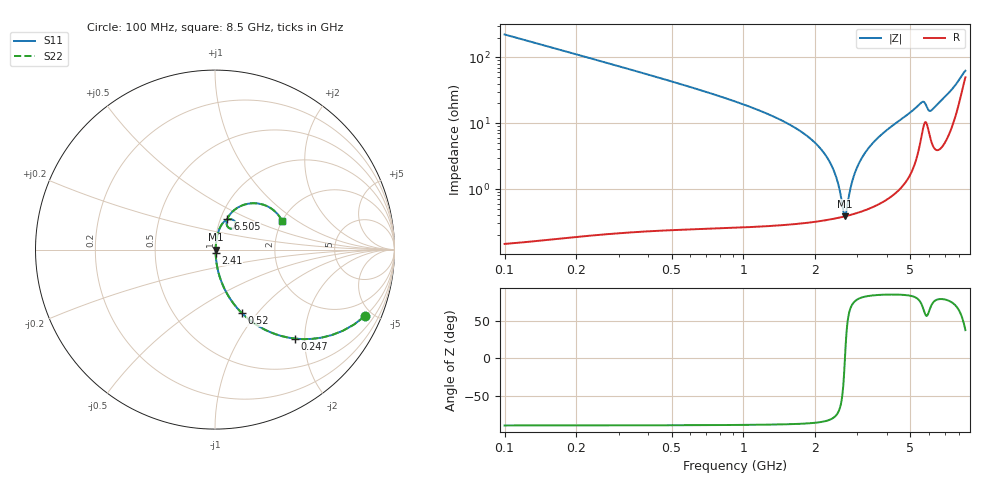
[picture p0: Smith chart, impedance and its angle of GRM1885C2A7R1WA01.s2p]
!Murata Part Number: GRM1885C2A7R1WA01
!These Parameters are Measured in Series Mode Connection
!Data Generated on Mar 30, 2021
!  o--ll--o
!Port1  Port2
!  o------o
!Operation Temp=25[degC], DC Bias Voltage=0[V]
!Freq. Start=100[MHz] Stop=9[GHz] 401[Steps]
# Hz S RI R 50
!Freq.(Hz) S11(Real) S11(Imag) S21(Real) S21(Imag) S12(Real) S12(Imag) S22(Real) S22(Imag)
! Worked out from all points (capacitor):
!   401 points, 100 MHz to 8.5 GHz, reference 50 ohm
!   read as one part in series: C = 7.1 pF near 142 MHz
!   lowest |Z| = 384 mohm at 2.662 GHz (marker M1)
!   series resonance near 2.661 GHz, so ESL is about 500 pH
!   S11 on the Smith chart (normalised r, x): 100 MHz: 1.00, -4.48; 247 MHz: 1.00, -1.80; 520 MHz: 1.00, -0.83; 2.41 GHz: 1.01, -0.03; 6.505 GHz: 1.08, +0.38; 8.5 GHz: 2.00, +0.76
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1e8  0.8334 -0.3723  0.1666 0.3723  0.1666 0.3723  0.8334 -0.3723
2.47e8  0.4473 -0.4961  0.5527 0.4961  0.5527 0.4961  0.4473 -0.4961
3.73e8  0.2584 -0.4359  0.7416 0.4359  0.7416 0.4359  0.2584 -0.4359
5.2e8  0.1483 -0.3525  0.8517 0.3525  0.8517 0.3525  0.1483 -0.3525
8.56e8  0.0547 -0.222  0.9453 0.222  0.9453 0.222  0.0547 -0.222
1.507e9  0.0131 -0.1006  0.9869 0.1006  0.9869 0.1006  0.0131 -0.1006
2.074e9  0.00509 -0.0431  0.9949 0.0431  0.9949 0.0431  0.00509 -0.0431
2.41e9  0.00383 -0.0172  0.9962 0.0172  0.9962 0.0172  0.00383 -0.0172
2.515e9  0.00375 -0.00982  0.9963 0.00982  0.9963 0.00982  0.00375 -0.00982
2.62e9  0.00378 -0.00272  0.9962 0.00272  0.9962 0.00272  0.00378 -0.00272
2.662e9  0.00383 5.15e-05  0.9962 -5.15e-05  0.9962 -5.15e-05  0.00383 5.15e-05
2.914e9  0.00444 0.016  0.9956 -0.016  0.9956 -0.016  0.00444 0.016
3.124e9  0.00535 0.0286  0.9946 -0.0286  0.9946 -0.0286  0.00535 0.0286
3.397e9  0.00706 0.0443  0.9929 -0.0443  0.9929 -0.0443  0.00706 0.0443
4.3e9  0.0175 0.0947  0.9825 -0.0947  0.9825 -0.0947  0.0175 0.0947
5.476e9  0.0755 0.1689  0.9245 -0.1689  0.9245 -0.1689  0.0755 0.1689
5.707e9  0.1132 0.1513  0.8868 -0.1513  0.8868 -0.1513  0.1132 0.1513
6.022e9  0.0773 0.1207  0.9227 -0.1207  0.9227 -0.1207  0.0773 0.1207
6.505e9  0.0694 0.1722  0.9306 -0.1722  0.9306 -0.1722  0.0694 0.1722
7.114e9  0.1105 0.2229  0.8895 -0.2229  0.8895 -0.2229  0.1105 0.2229
7.954e9  0.2445 0.2561  0.7555 -0.2561  0.7555 -0.2561  0.2445 0.2561
8.5e9  0.3735 0.1598  0.6265 -0.1598  0.6265 -0.1598  0.3735 0.1598
